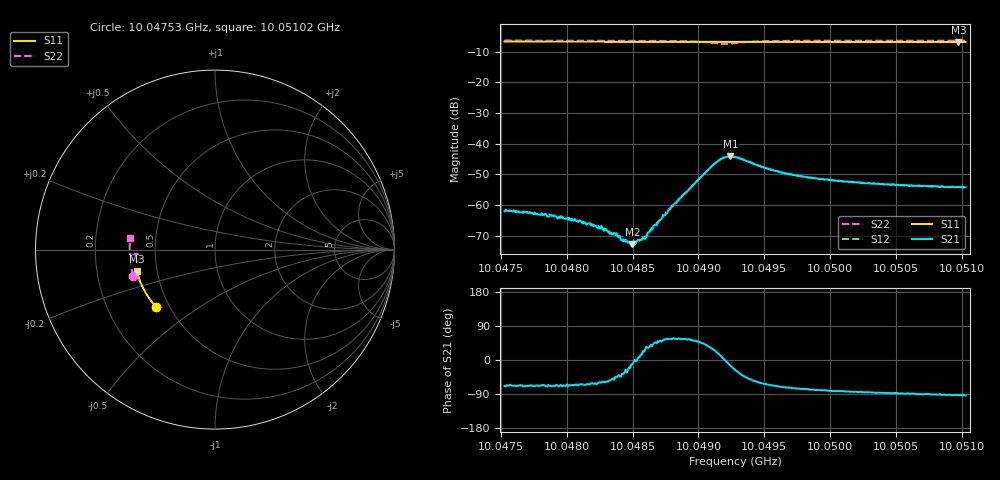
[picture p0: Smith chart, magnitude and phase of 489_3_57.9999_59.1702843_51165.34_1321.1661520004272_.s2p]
#  HZ  S  RI  R  50.00
! Rohde & Schwarz Vector Network Analyzer
! Rohde-Schwarz,ZNB20-2Port,1311601062101988,3.16
! Created: UTC 3/21/2024, 1:12:12 AM
! freq[Hz]  re:S11  im:S11  re:S21  im:S21  re:S12  im:S12  re:S22  im:S22
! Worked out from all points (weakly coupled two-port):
!   401 points, 10.04753 GHz to 10.05102 GHz, reference 50 ohm
!   highest |S21| = -44.17 dB at 10.04924 GHz (marker M1); lowest = -72.8 dB at 10.0485 GHz (marker M2)
!   lowest |S11| = -6.9 dB at 10.05097 GHz (marker M3), VSWR 2.65, Z = 19.2 - j5.9 ohm
!   |S11| at or under -10 dB: nowhere
!   |S22| runs from -7.5 to -6.4 dB; largest |S21 - S12| = 0.00042
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1.0047529e10  -0.3289 -0.319  0.000289 -0.000733  0.000361 -0.00071  -0.4553 -0.1484
1.0047704e10  -0.3365 -0.3104  0.000286 -0.000709  0.000322 -0.00068  -0.4586 -0.1368
1.0047853e10  -0.3429 -0.3029  0.000224 -0.000614  0.00029 -0.000629  -0.461 -0.1266
1.0048115e10  -0.3536 -0.2895  0.000221 -0.000461  0.000279 -0.000469  -0.465 -0.1085
1.0048298e10  -0.3611 -0.2798  0.000215 -0.000328  0.000245 -0.000331  -0.4671 -0.0952
1.0048359e10  -0.3633 -0.2765  0.000216 -0.000275  0.000248 -0.000253  -0.4676 -0.0904
1.0048429e10  -0.3659 -0.2728  0.000221 -0.000162  0.000204 -0.000153  -0.4682 -0.085
1.0048456e10  -0.3669 -0.2713  0.000216 -0.000141  0.000237 -0.000125  -0.4684 -0.0831
1.0048499e10  -0.3685 -0.2689  0.000225 -4.51e-05  0.000221 -2.96e-05  -0.4687 -0.0796
1.0048587e10  -0.3717 -0.2643  0.000266 0.000105  0.000238 0.00014  -0.469 -0.0724
1.0048657e10  -0.3744 -0.2604  0.000335 0.000301  0.000291 0.000308  -0.4688 -0.0662
1.00487e10  -0.3759 -0.2579  0.000366 0.00041  0.000336 0.000433  -0.4686 -0.0622
1.0048814e10  -0.3799 -0.2516  0.000563 0.000868  0.000511 0.000882  -0.4666 -0.0511
1.0049111e10  -0.3895 -0.2345  0.00398 0.00211  0.00383 0.00236  -0.4338 -0.0244
1.0049181e10  -0.3916 -0.2306  0.00573 0.000659  0.00569 0.00101  -0.4192 -0.0363
1.0049242e10  -0.3934 -0.2274  0.00597 -0.00162  0.0061 -0.00124  -0.4199 -0.0544
1.0049277e10  -0.3947 -0.2255  0.00543 -0.00262  0.00564 -0.00234  -0.4268 -0.0617
1.0049565e10  -0.4035 -0.2089  0.0014 -0.0034  0.00162 -0.00337  -0.4675 -0.0445
1.0049862e10  -0.4117 -0.1912  0.000548 -0.00272  0.000703 -0.00268  -0.4745 -0.0172
1.0050448e10  -0.4256 -0.1553  0.000127 -0.00216  0.000223 -0.00214  -0.4753 0.027
1.0050972e10  -0.4353 -0.1225  -9.54e-05 -0.00197  3.25e-05 -0.00197  -0.4718 0.0631
1.0051025e10  -0.4363 -0.1192  -0.000118 -0.00194  8.21e-06 -0.00195  -0.4714 0.0665
